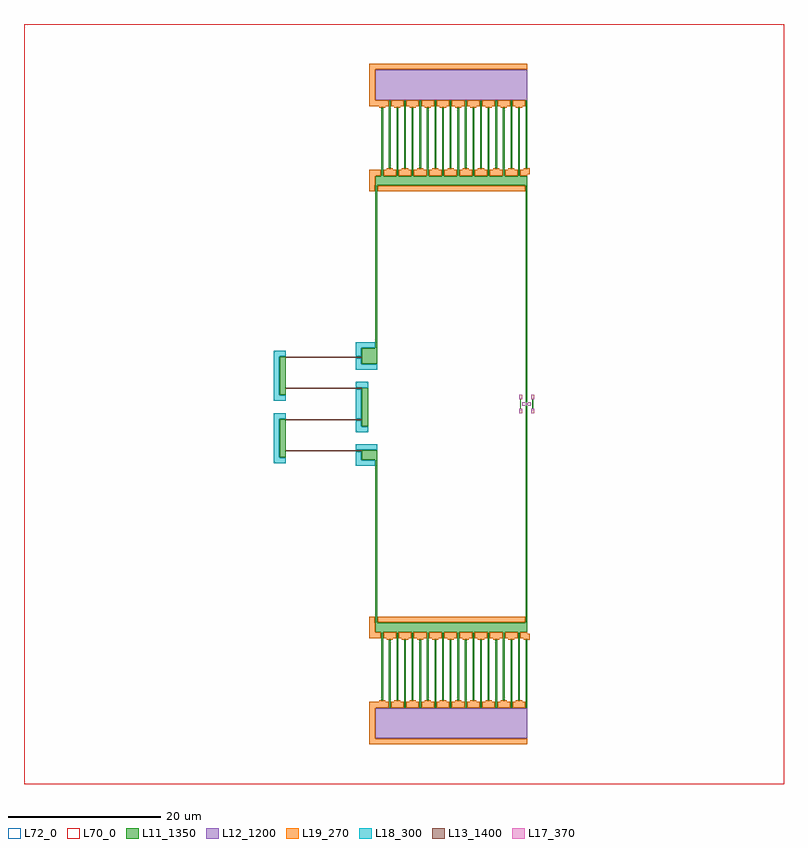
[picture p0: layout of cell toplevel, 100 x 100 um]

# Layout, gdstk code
from math import pi, radians
import gdstk
lib = gdstk.Library(unit=1e-6, precision=1e-09)
def R(c, l, rs):  # rectangles x0, y0, x1, y1
    for r in rs: c.add(gdstk.rectangle(r[:2], r[2:], *l))
def P(c, l, *ps):  # polygons
    for p in ps: c.add(gdstk.Polygon(p, *l))
L11_1350 = (11, 1350)
L12_1200 = (12, 1200)
L13_1400 = (13, 1400)
L17_370 = (17, 370)
L18_300 = (18, 300)
L19_270 = (19, 270)
L70_0 = (70, 0)
L72_0 = (72, 0)

rectangle023 = lib.new_cell('rectangle023')
R(rectangle023, L11_1350, [(0,0,0.2,1.8)])

jj_top = lib.new_cell('JJ Top')
jj_top.add(gdstk.Reference(rectangle023, (-0.1,0.2)))

rectangle024 = lib.new_cell('rectangle024')
R(rectangle024, L11_1350, [(0,0,0.2,1.8)])

jj_bot = lib.new_cell('JJ Bot')
jj_bot.add(gdstk.Reference(rectangle024, (-0.1,-2)))

rectangle025 = lib.new_cell('rectangle025')
R(rectangle025, L11_1350, [(0,0,0.22,26.8)])

top_arm = lib.new_cell('Top Arm')
top_arm.add(gdstk.Reference(rectangle025, (-0.11,2)))

rectangle026 = lib.new_cell('rectangle026')
R(rectangle026, L11_1350, [(0,0,0.22,26.8)])

bot_arm = lib.new_cell('Bot Arm')
bot_arm.add(gdstk.Reference(rectangle026, (-0.11,-28.8)))

junction = lib.new_cell('Junction')
junction.add(gdstk.Reference(jj_top, (0,0)))
junction.add(gdstk.Reference(jj_bot, (0,0)))
junction.add(gdstk.Reference(top_arm, (0,0)))
junction.add(gdstk.Reference(bot_arm, (0,0)))

rectangle028 = lib.new_cell('rectangle028')
R(rectangle028, L17_370, [(-0.15,1.2,0.25,1.8)])

rectangle029 = lib.new_cell('rectangle029')
R(rectangle029, L17_370, [(-0.15,-0.6,0.25,0)])

rectangle027 = lib.new_cell('rectangle027')
R(rectangle027, L11_1350, [(0,0,0.1,1.2)])
rectangle027.add(gdstk.Reference(rectangle028, (0,0)))
rectangle027.add(gdstk.Reference(rectangle029, (0,0)))

boolean030 = lib.new_cell('boolean030')
P(boolean030, L17_370, [(-0.2,-0.125),(0.2,-0.125),(0.2,-0.25),(0.55,-0.25),(0.55,0.25),(0.2,0.25),(0.2,0.125),(-0.2,0.125),(-0.2,0.25),(-0.55,0.25),(-0.55,-0.25),(-0.2,-0.25)])

h_undercut_with_boxes = lib.new_cell('H undercut with boxes')
h_undercut_with_boxes.add(gdstk.Reference(rectangle027, (-0.85,-0.6)))
h_undercut_with_boxes.add(gdstk.Reference(rectangle027, (0.75,-0.6)))
h_undercut_with_boxes.add(gdstk.Reference(boolean030, (0,0)))

josephson_junction = lib.new_cell('Josephson Junction')
josephson_junction.add(gdstk.Reference(junction, (0,0)))
josephson_junction.add(gdstk.Reference(h_undercut_with_boxes, (0,0)))

rectangle034 = lib.new_cell('rectangle034')
R(rectangle034, L11_1350, [(-20,-21.49,-19.78,0)])

rectangle033 = lib.new_cell('rectangle033')
R(rectangle033, L11_1350, [(-20,0,0,1.2)])

connector032 = lib.new_cell('Connector032')
connector032.add(gdstk.Reference(rectangle033, (0,0)))

boolean035 = lib.new_cell('boolean035')

rectangle037 = lib.new_cell('rectangle037')
R(rectangle037, L12_1200, [(-20,0,0,4)])

connector036 = lib.new_cell('Connector036')
connector036.add(gdstk.Reference(rectangle037, (0,11.2)))

boolean038 = lib.new_cell('boolean038')

undercut = lib.new_cell('Undercut')
undercut.add(gdstk.Reference(boolean038, (0,11.2)))

rectangle040 = lib.new_cell('rectangle040')

rectangle039 = lib.new_cell('rectangle039')
R(rectangle039, L11_1350, [(-0.22,2.2,0,11.2)])
rectangle039.add(gdstk.Reference(rectangle040, (0,11.2)))

rectangle042 = lib.new_cell('rectangle042')

rectangle041 = lib.new_cell('rectangle041')
R(rectangle041, L11_1350, [(-1.22,1.2,-1,10.2)])
rectangle041.add(gdstk.Reference(rectangle042, (-1,10.2)))

rectangle044 = lib.new_cell('rectangle044')

rectangle043 = lib.new_cell('rectangle043')
R(rectangle043, L11_1350, [(-2.22,2.2,-2,11.2)])
rectangle043.add(gdstk.Reference(rectangle044, (-2,11.2)))

rectangle046 = lib.new_cell('rectangle046')

rectangle045 = lib.new_cell('rectangle045')
R(rectangle045, L11_1350, [(-3.22,1.2,-3,10.2)])
rectangle045.add(gdstk.Reference(rectangle046, (-3,10.2)))

rectangle048 = lib.new_cell('rectangle048')

rectangle047 = lib.new_cell('rectangle047')
R(rectangle047, L11_1350, [(-4.22,2.2,-4,11.2)])
rectangle047.add(gdstk.Reference(rectangle048, (-4,11.2)))

rectangle050 = lib.new_cell('rectangle050')

rectangle049 = lib.new_cell('rectangle049')
R(rectangle049, L11_1350, [(-5.22,1.2,-5,10.2)])
rectangle049.add(gdstk.Reference(rectangle050, (-5,10.2)))

rectangle052 = lib.new_cell('rectangle052')

rectangle051 = lib.new_cell('rectangle051')
R(rectangle051, L11_1350, [(-6.22,2.2,-6,11.2)])
rectangle051.add(gdstk.Reference(rectangle052, (-6,11.2)))

rectangle054 = lib.new_cell('rectangle054')

rectangle053 = lib.new_cell('rectangle053')
R(rectangle053, L11_1350, [(-7.22,1.2,-7,10.2)])
rectangle053.add(gdstk.Reference(rectangle054, (-7,10.2)))

rectangle056 = lib.new_cell('rectangle056')

rectangle055 = lib.new_cell('rectangle055')
R(rectangle055, L11_1350, [(-8.22,2.2,-8,11.2)])
rectangle055.add(gdstk.Reference(rectangle056, (-8,11.2)))

rectangle058 = lib.new_cell('rectangle058')

rectangle057 = lib.new_cell('rectangle057')
R(rectangle057, L11_1350, [(-9.22,1.2,-9,10.2)])
rectangle057.add(gdstk.Reference(rectangle058, (-9,10.2)))

rectangle060 = lib.new_cell('rectangle060')

rectangle059 = lib.new_cell('rectangle059')
R(rectangle059, L11_1350, [(-10.22,2.2,-10,11.2)])
rectangle059.add(gdstk.Reference(rectangle060, (-10,11.2)))

rectangle062 = lib.new_cell('rectangle062')

rectangle061 = lib.new_cell('rectangle061')
R(rectangle061, L11_1350, [(-11.22,1.2,-11,10.2)])
rectangle061.add(gdstk.Reference(rectangle062, (-11,10.2)))

rectangle064 = lib.new_cell('rectangle064')

rectangle063 = lib.new_cell('rectangle063')
R(rectangle063, L11_1350, [(-12.22,2.2,-12,11.2)])
rectangle063.add(gdstk.Reference(rectangle064, (-12,11.2)))

rectangle066 = lib.new_cell('rectangle066')

rectangle065 = lib.new_cell('rectangle065')
R(rectangle065, L11_1350, [(-13.22,1.2,-13,10.2)])
rectangle065.add(gdstk.Reference(rectangle066, (-13,10.2)))

rectangle068 = lib.new_cell('rectangle068')

rectangle067 = lib.new_cell('rectangle067')
R(rectangle067, L11_1350, [(-14.22,2.2,-14,11.2)])
rectangle067.add(gdstk.Reference(rectangle068, (-14,11.2)))

rectangle070 = lib.new_cell('rectangle070')

rectangle069 = lib.new_cell('rectangle069')
R(rectangle069, L11_1350, [(-15.22,1.2,-15,10.2)])
rectangle069.add(gdstk.Reference(rectangle070, (-15,10.2)))

rectangle072 = lib.new_cell('rectangle072')

rectangle071 = lib.new_cell('rectangle071')
R(rectangle071, L11_1350, [(-16.22,2.2,-16,11.2)])
rectangle071.add(gdstk.Reference(rectangle072, (-16,11.2)))

rectangle074 = lib.new_cell('rectangle074')

rectangle073 = lib.new_cell('rectangle073')
R(rectangle073, L11_1350, [(-17.22,1.2,-17,10.2)])
rectangle073.add(gdstk.Reference(rectangle074, (-17,10.2)))

rectangle076 = lib.new_cell('rectangle076')

rectangle075 = lib.new_cell('rectangle075')
R(rectangle075, L11_1350, [(-18.22,2.2,-18,11.2)])
rectangle075.add(gdstk.Reference(rectangle076, (-18,11.2)))

rectangle078 = lib.new_cell('rectangle078')

rectangle077 = lib.new_cell('rectangle077')
R(rectangle077, L11_1350, [(-19.22,1.2,-19,10.2)])
rectangle077.add(gdstk.Reference(rectangle078, (-19,10.2)))

boolean079 = lib.new_cell('boolean079')

connector031 = lib.new_cell('Connector031')
connector031.add(gdstk.Reference(rectangle034, (19.89,28.8)))
connector031.add(gdstk.Reference(connector032, (19.89,28.8)))
connector031.add(gdstk.Reference(boolean035, (19.89,28.8)))
connector031.add(gdstk.Reference(connector036, (19.89,28.8)))
connector031.add(gdstk.Reference(undercut, (19.89,28.8)))
connector031.add(gdstk.Reference(rectangle039, (19.89,28.8)))
connector031.add(gdstk.Reference(rectangle041, (19.89,28.8)))
connector031.add(gdstk.Reference(rectangle043, (19.89,28.8)))
connector031.add(gdstk.Reference(rectangle045, (19.89,28.8)))
connector031.add(gdstk.Reference(rectangle047, (19.89,28.8)))
connector031.add(gdstk.Reference(rectangle049, (19.89,28.8)))
connector031.add(gdstk.Reference(rectangle051, (19.89,28.8)))
connector031.add(gdstk.Reference(rectangle053, (19.89,28.8)))
connector031.add(gdstk.Reference(rectangle055, (19.89,28.8)))
connector031.add(gdstk.Reference(rectangle057, (19.89,28.8)))
connector031.add(gdstk.Reference(rectangle059, (19.89,28.8)))
connector031.add(gdstk.Reference(rectangle061, (19.89,28.8)))
connector031.add(gdstk.Reference(rectangle063, (19.89,28.8)))
connector031.add(gdstk.Reference(rectangle065, (19.89,28.8)))
connector031.add(gdstk.Reference(rectangle067, (19.89,28.8)))
connector031.add(gdstk.Reference(rectangle069, (19.89,28.8)))
connector031.add(gdstk.Reference(rectangle071, (19.89,28.8)))
connector031.add(gdstk.Reference(rectangle073, (19.89,28.8)))
connector031.add(gdstk.Reference(rectangle075, (19.89,28.8)))
connector031.add(gdstk.Reference(rectangle077, (19.89,28.8)))
connector031.add(gdstk.Reference(boolean079, (0,0)))

rectangle008 = lib.new_cell('rectangle008')
R(rectangle008, L11_1350, [(0,0,0.8,4.22)])

rectangle009 = lib.new_cell('rectangle009')
R(rectangle009, L11_1350, [(0,-0.8,0.8,0)])

arm_connector = lib.new_cell('Arm connector')
arm_connector.add(gdstk.Reference(rectangle008, (-0.8,-4.11)))
arm_connector.add(gdstk.Reference(rectangle009, (-0.8,-4.11)))

rectangle011 = lib.new_cell('rectangle011')
R(rectangle011, L11_1350, [(0,0,0.8,4.22)])

rectangle012 = lib.new_cell('rectangle012')
R(rectangle012, L11_1350, [(0,-0.8,0.8,0)])

arm_connector010 = lib.new_cell('Arm connector010')
arm_connector010.add(gdstk.Reference(rectangle011, (-0.8,-12.33)))
arm_connector010.add(gdstk.Reference(rectangle012, (-0.8,-12.33)))

rectangle015 = lib.new_cell('rectangle015')
R(rectangle015, L11_1350, [(0,0,0.8,4.22)])

rectangle016 = lib.new_cell('rectangle016')
R(rectangle016, L11_1350, [(0,-0.8,0.8,0)])

arm_connector014 = lib.new_cell('Arm connector014')
arm_connector014.add(gdstk.Reference(rectangle015, (10,-8.22)))
arm_connector014.add(gdstk.Reference(rectangle016, (10,-8.22)))

arms = lib.new_cell('Arms')
arms.add(gdstk.Reference(arm_connector, (0,0)))
arms.add(gdstk.Reference(arm_connector010, (0,0)))
arms.add(gdstk.Reference(arm_connector014, (0,0)))

rectangle = lib.new_cell('rectangle')
R(rectangle, L13_1400, [(0,0,10,0.11)])

resistive_segment = lib.new_cell('Resistive segment')
resistive_segment.add(gdstk.Reference(rectangle, (0,0)))

rectangle003 = lib.new_cell('rectangle003')
R(rectangle003, L13_1400, [(0,0,10,0.11)])

resistive_segment002 = lib.new_cell('Resistive segment002')
resistive_segment002.add(gdstk.Reference(rectangle003, (0,-4.11)))

rectangle005 = lib.new_cell('rectangle005')
R(rectangle005, L13_1400, [(0,0,10,0.11)])

resistive_segment004 = lib.new_cell('Resistive segment004')
resistive_segment004.add(gdstk.Reference(rectangle005, (0,-8.22)))

rectangle007 = lib.new_cell('rectangle007')
R(rectangle007, L13_1400, [(0,0,10,0.11)])

resistive_segment006 = lib.new_cell('Resistive segment006')
resistive_segment006.add(gdstk.Reference(rectangle007, (0,-12.33)))

resistive_segments = lib.new_cell('Resistive segments')
resistive_segments.add(gdstk.Reference(resistive_segment, (0,0)))
resistive_segments.add(gdstk.Reference(resistive_segment002, (0,0)))
resistive_segments.add(gdstk.Reference(resistive_segment004, (0,0)))
resistive_segments.add(gdstk.Reference(resistive_segment006, (0,0)))

boolean = lib.new_cell('boolean')

boolean013 = lib.new_cell('boolean013')

boolean017 = lib.new_cell('boolean017')

boolean022 = lib.new_cell('boolean022')

liftoff_undercut = lib.new_cell('Liftoff undercut')
liftoff_undercut.add(gdstk.Reference(boolean, (0,0)))
liftoff_undercut.add(gdstk.Reference(boolean013, (0,0)))
liftoff_undercut.add(gdstk.Reference(boolean017, (0,0)))
liftoff_undercut.add(gdstk.Reference(boolean022, (0,0)))

rectangle018 = lib.new_cell('rectangle018')
R(rectangle018, L11_1350, [(-2,0,0,1.2)])

connector = lib.new_cell('Connector')
connector.add(gdstk.Reference(rectangle018, (0,0)))

rectangle019 = lib.new_cell('rectangle019')
R(rectangle019, L11_1350, [(-2,-0.8,0,0)])

top_connector = lib.new_cell('Top connector')
top_connector.add(gdstk.Reference(connector, (10,0), rotation=pi, x_reflection=True))
top_connector.add(gdstk.Reference(rectangle019, (10,0), rotation=pi, x_reflection=True))

rectangle021 = lib.new_cell('rectangle021')
R(rectangle021, L11_1350, [(-2,0,0,1.2)])

connector020 = lib.new_cell('Connector020')
connector020.add(gdstk.Reference(rectangle021, (10,-13.42), rotation=pi, x_reflection=True))

bot_connector = lib.new_cell('Bot connector')
bot_connector.add(gdstk.Reference(connector020, (0,0)))

boolean080 = lib.new_cell('boolean080')
R(boolean080, L18_300, [(-22.47,-6.05,-19.67,-5.31), (-22.47,-1.94,-21.73,1.94), (-22.47,2.17,-20.87,2.91)])
P(boolean080, L18_300, [(-21.73,7.37),(-19.95,7.37),(-19.95,8.11),(-22.47,8.11),(-22.47,6.28),(-21.73,6.28)],
  [(-31.67,1.14),(-32.53,1.14),(-32.53,6.28),(-31.67,6.28),(-31.67,7.02),(-33.27,7.02),(-33.27,0.4),(-31.67,0.4)],
  [(-19.67,5.25),(-21.73,5.25),(-21.73,6.05),(-22.47,6.05),(-22.47,4.51),(-19.67,4.51)],
  [(-31.67,-7.08),(-32.53,-7.08),(-32.53,-1.94),(-31.67,-1.94),(-31.67,-1.2),(-33.27,-1.2),(-33.27,-7.82),(-31.67,-7.82)],
  [(-20.87,-2.97),(-21.73,-2.97),(-21.73,-2.17),(-22.47,-2.17),(-22.47,-3.71),(-20.87,-3.71)],
  [(-19.95,-7.37),(-21.73,-7.37),(-21.73,-6.28),(-22.47,-6.28),(-22.47,-8.11),(-19.95,-8.11)])

resistor = lib.new_cell('Resistor')
resistor.add(gdstk.Reference(arms, (-31.67,6.11)))
resistor.add(gdstk.Reference(resistive_segments, (-31.67,6.11)))
resistor.add(gdstk.Reference(liftoff_undercut, (-31.67,6.11)))
resistor.add(gdstk.Reference(top_connector, (-31.67,6.11)))
resistor.add(gdstk.Reference(bot_connector, (-31.67,6.11)))
resistor.add(gdstk.Reference(boolean080, (0,0)))

boolean081 = lib.new_cell('boolean081')
R(boolean081, L19_270, [(-19.6,-28.74,-0.17,-28), (-19.6,28,-0.17,28.74)])
P(boolean081, L19_270, [(-18.6,39.2),(-18.17,39.2),(-18.17,39.94),(-19.95,39.94),(-19.95,44.06),(0.11,44.06),(0.11,44.8),(-20.69,44.8),(-20.69,39.2),(-19.4,39.2),(-19.4,39),(-19.17,39),(-19.17,39.06),(-18.83,39.06),(-18.83,39),(-18.6,39)],
  [(-10.6,39.2),(-10.17,39.2),(-10.17,39.94),(-11.83,39.94),(-11.83,39.2),(-11.4,39.2),(-11.4,39),(-11.17,39),(-11.17,39.06),(-10.83,39.06),(-10.83,39),(-10.6,39)],
  [(-2.6,39.2),(-2.17,39.2),(-2.17,39.94),(-3.83,39.94),(-3.83,39.2),(-3.4,39.2),(-3.4,39),(-3.17,39),(-3.17,39.06),(-2.83,39.06),(-2.83,39),(-2.6,39)],
  [(-8.6,39.2),(-8.17,39.2),(-8.17,39.94),(-9.83,39.94),(-9.83,39.2),(-9.4,39.2),(-9.4,39),(-9.17,39),(-9.17,39.06),(-8.83,39.06),(-8.83,39),(-8.6,39)],
  [(-6.6,39.2),(-6.17,39.2),(-6.17,39.94),(-7.83,39.94),(-7.83,39.2),(-7.4,39.2),(-7.4,39),(-7.17,39),(-7.17,39.06),(-6.83,39.06),(-6.83,39),(-6.6,39)],
  [(-4.6,39.2),(-4.17,39.2),(-4.17,39.94),(-5.83,39.94),(-5.83,39.2),(-5.4,39.2),(-5.4,39),(-5.17,39),(-5.17,39.06),(-4.83,39.06),(-4.83,39),(-4.6,39)],
  [(-16.6,39.2),(-16.17,39.2),(-16.17,39.94),(-17.83,39.94),(-17.83,39.2),(-17.4,39.2),(-17.4,39),(-17.17,39),(-17.17,39.06),(-16.83,39.06),(-16.83,39),(-16.6,39)],
  [(-0.6,39.2),(-0.17,39.2),(-0.17,39.94),(-1.83,39.94),(-1.83,39.2),(-1.4,39.2),(-1.4,39),(-1.17,39),(-1.17,39.06),(-0.83,39.06),(-0.83,39),(-0.6,39)],
  [(-14.6,39.2),(-14.17,39.2),(-14.17,39.94),(-15.83,39.94),(-15.83,39.2),(-15.4,39.2),(-15.4,39),(-15.17,39),(-15.17,39.06),(-14.83,39.06),(-14.83,39),(-14.6,39)],
  [(-12.6,39.2),(-12.17,39.2),(-12.17,39.94),(-13.83,39.94),(-13.83,39.2),(-13.4,39.2),(-13.4,39),(-13.17,39),(-13.17,39.06),(-12.83,39.06),(-12.83,39),(-12.6,39)],
  [(0.11,30.06),(0.11,30.2),(0.4,30.2),(0.4,31),(0.17,31),(0.17,30.94),(-0.17,30.94),(-0.17,31),(-0.4,31),(-0.4,30.8),(-0.83,30.8),(-0.83,30.06)],
  [(-17.17,30.06),(-17.17,30.8),(-17.6,30.8),(-17.6,31),(-17.83,31),(-17.83,30.94),(-18.17,30.94),(-18.17,31),(-18.4,31),(-18.4,30.8),(-18.83,30.8),(-18.83,30.06)],
  [(-15.17,30.06),(-15.17,30.8),(-15.6,30.8),(-15.6,31),(-15.83,31),(-15.83,30.94),(-16.17,30.94),(-16.17,31),(-16.4,31),(-16.4,30.8),(-16.83,30.8),(-16.83,30.06)],
  [(-11.17,30.06),(-11.17,30.8),(-11.6,30.8),(-11.6,31),(-11.83,31),(-11.83,30.94),(-12.17,30.94),(-12.17,31),(-12.4,31),(-12.4,30.8),(-12.83,30.8),(-12.83,30.06)],
  [(-13.17,30.06),(-13.17,30.8),(-13.6,30.8),(-13.6,31),(-13.83,31),(-13.83,30.94),(-14.17,30.94),(-14.17,31),(-14.4,31),(-14.4,30.8),(-14.83,30.8),(-14.83,30.06)],
  [(-9.17,30.06),(-9.17,30.8),(-9.6,30.8),(-9.6,31),(-9.83,31),(-9.83,30.94),(-10.17,30.94),(-10.17,31),(-10.4,31),(-10.4,30.8),(-10.83,30.8),(-10.83,30.06)],
  [(-7.17,30.06),(-7.17,30.8),(-7.6,30.8),(-7.6,31),(-7.83,31),(-7.83,30.94),(-8.17,30.94),(-8.17,31),(-8.4,31),(-8.4,30.8),(-8.83,30.8),(-8.83,30.06)],
  [(-1.17,30.06),(-1.17,30.8),(-1.6,30.8),(-1.6,31),(-1.83,31),(-1.83,30.94),(-2.17,30.94),(-2.17,31),(-2.4,31),(-2.4,30.8),(-2.83,30.8),(-2.83,30.06)],
  [(-5.17,30.06),(-5.17,30.8),(-5.6,30.8),(-5.6,31),(-5.83,31),(-5.83,30.94),(-6.17,30.94),(-6.17,31),(-6.4,31),(-6.4,30.8),(-6.83,30.8),(-6.83,30.06)],
  [(-3.17,30.06),(-3.17,30.8),(-3.6,30.8),(-3.6,31),(-3.83,31),(-3.83,30.94),(-4.17,30.94),(-4.17,31),(-4.4,31),(-4.4,30.8),(-4.83,30.8),(-4.83,30.06)],
  [(-19.96,28.87),(-19.95,28.87),(-19.95,30.06),(-19.17,30.06),(-19.17,30.8),(-20.69,30.8),(-20.69,28),(-19.96,28)],
  [(-19.17,-30.06),(-19.95,-30.06),(-19.95,-28.87),(-19.96,-28.87),(-19.96,-28),(-20.69,-28),(-20.69,-30.8),(-19.17,-30.8)],
  [(0.4,-30.2),(0.11,-30.2),(0.11,-30.06),(-0.83,-30.06),(-0.83,-30.8),(-0.4,-30.8),(-0.4,-31),(-0.17,-31),(-0.17,-30.94),(0.17,-30.94),(0.17,-31),(0.4,-31)],
  [(-17.6,-30.8),(-17.17,-30.8),(-17.17,-30.06),(-18.83,-30.06),(-18.83,-30.8),(-18.4,-30.8),(-18.4,-31),(-18.17,-31),(-18.17,-30.94),(-17.83,-30.94),(-17.83,-31),(-17.6,-31)],
  [(-13.6,-30.8),(-13.17,-30.8),(-13.17,-30.06),(-14.83,-30.06),(-14.83,-30.8),(-14.4,-30.8),(-14.4,-31),(-14.17,-31),(-14.17,-30.94),(-13.83,-30.94),(-13.83,-31),(-13.6,-31)],
  [(-11.6,-30.8),(-11.17,-30.8),(-11.17,-30.06),(-12.83,-30.06),(-12.83,-30.8),(-12.4,-30.8),(-12.4,-31),(-12.17,-31),(-12.17,-30.94),(-11.83,-30.94),(-11.83,-31),(-11.6,-31)],
  [(-9.6,-30.8),(-9.17,-30.8),(-9.17,-30.06),(-10.83,-30.06),(-10.83,-30.8),(-10.4,-30.8),(-10.4,-31),(-10.17,-31),(-10.17,-30.94),(-9.83,-30.94),(-9.83,-31),(-9.6,-31)],
  [(-7.6,-30.8),(-7.17,-30.8),(-7.17,-30.06),(-8.83,-30.06),(-8.83,-30.8),(-8.4,-30.8),(-8.4,-31),(-8.17,-31),(-8.17,-30.94),(-7.83,-30.94),(-7.83,-31),(-7.6,-31)],
  [(-5.6,-30.8),(-5.17,-30.8),(-5.17,-30.06),(-6.83,-30.06),(-6.83,-30.8),(-6.4,-30.8),(-6.4,-31),(-6.17,-31),(-6.17,-30.94),(-5.83,-30.94),(-5.83,-31),(-5.6,-31)],
  [(-3.6,-30.8),(-3.17,-30.8),(-3.17,-30.06),(-4.83,-30.06),(-4.83,-30.8),(-4.4,-30.8),(-4.4,-31),(-4.17,-31),(-4.17,-30.94),(-3.83,-30.94),(-3.83,-31),(-3.6,-31)],
  [(-1.6,-30.8),(-1.17,-30.8),(-1.17,-30.06),(-2.83,-30.06),(-2.83,-30.8),(-2.4,-30.8),(-2.4,-31),(-2.17,-31),(-2.17,-30.94),(-1.83,-30.94),(-1.83,-31),(-1.6,-31)],
  [(-15.6,-30.8),(-15.17,-30.8),(-15.17,-30.06),(-16.83,-30.06),(-16.83,-30.8),(-16.4,-30.8),(-16.4,-31),(-16.17,-31),(-16.17,-30.94),(-15.83,-30.94),(-15.83,-31),(-15.6,-31)],
  [(-14.17,-39.94),(-14.17,-39.2),(-14.6,-39.2),(-14.6,-39),(-14.83,-39),(-14.83,-39.06),(-15.17,-39.06),(-15.17,-39),(-15.4,-39),(-15.4,-39.2),(-15.83,-39.2),(-15.83,-39.94)],
  [(-12.17,-39.94),(-12.17,-39.2),(-12.6,-39.2),(-12.6,-39),(-12.83,-39),(-12.83,-39.06),(-13.17,-39.06),(-13.17,-39),(-13.4,-39),(-13.4,-39.2),(-13.83,-39.2),(-13.83,-39.94)],
  [(-10.17,-39.94),(-10.17,-39.2),(-10.6,-39.2),(-10.6,-39),(-10.83,-39),(-10.83,-39.06),(-11.17,-39.06),(-11.17,-39),(-11.4,-39),(-11.4,-39.2),(-11.83,-39.2),(-11.83,-39.94)],
  [(-0.17,-39.94),(-0.17,-39.2),(-0.6,-39.2),(-0.6,-39),(-0.83,-39),(-0.83,-39.06),(-1.17,-39.06),(-1.17,-39),(-1.4,-39),(-1.4,-39.2),(-1.83,-39.2),(-1.83,-39.94)],
  [(-4.17,-39.94),(-4.17,-39.2),(-4.6,-39.2),(-4.6,-39),(-4.83,-39),(-4.83,-39.06),(-5.17,-39.06),(-5.17,-39),(-5.4,-39),(-5.4,-39.2),(-5.83,-39.2),(-5.83,-39.94)],
  [(-16.17,-39.94),(-16.17,-39.2),(-16.6,-39.2),(-16.6,-39),(-16.83,-39),(-16.83,-39.06),(-17.17,-39.06),(-17.17,-39),(-17.4,-39),(-17.4,-39.2),(-17.83,-39.2),(-17.83,-39.94)],
  [(-6.17,-39.94),(-6.17,-39.2),(-6.6,-39.2),(-6.6,-39),(-6.83,-39),(-6.83,-39.06),(-7.17,-39.06),(-7.17,-39),(-7.4,-39),(-7.4,-39.2),(-7.83,-39.2),(-7.83,-39.94)],
  [(-8.17,-39.94),(-8.17,-39.2),(-8.6,-39.2),(-8.6,-39),(-8.83,-39),(-8.83,-39.06),(-9.17,-39.06),(-9.17,-39),(-9.4,-39),(-9.4,-39.2),(-9.83,-39.2),(-9.83,-39.94)],
  [(-2.17,-39.94),(-2.17,-39.2),(-2.6,-39.2),(-2.6,-39),(-2.83,-39),(-2.83,-39.06),(-3.17,-39.06),(-3.17,-39),(-3.4,-39),(-3.4,-39.2),(-3.83,-39.2),(-3.83,-39.94)],
  [(0.11,-44.06),(-19.95,-44.06),(-19.95,-39.94),(-18.17,-39.94),(-18.17,-39.2),(-18.6,-39.2),(-18.6,-39),(-18.83,-39),(-18.83,-39.06),(-19.17,-39.06),(-19.17,-39),(-19.4,-39),(-19.4,-39.2),(-20.69,-39.2),(-20.69,-44.8),(0.11,-44.8)])

rectangle083 = lib.new_cell('rectangle083')
R(rectangle083, L72_0, [(0,0,100,100)])

working_area = lib.new_cell('Working area')
working_area.add(gdstk.Reference(rectangle083, (-66.135,-50)))

rectangle082 = lib.new_cell('rectangle082')
R(rectangle082, L70_0, [(0,0,100,100)])

writefield = lib.new_cell('Writefield')
writefield.add(gdstk.Reference(rectangle082, (-66.135,-50)))

toplevel = lib.new_cell('toplevel')
toplevel.add(gdstk.Reference(josephson_junction, (0,0)))
toplevel.add(gdstk.Reference(connector031, (-19.78,0)))
toplevel.add(gdstk.Reference(connector031, (-19.78,0), x_reflection=True))
toplevel.add(gdstk.Reference(resistor, (0,0)))
toplevel.add(gdstk.Reference(boolean081, (0,0)))
toplevel.add(gdstk.Reference(working_area, (0,0)))
toplevel.add(gdstk.Reference(writefield, (0,0)))

lib.write_gds('toplevel.gds')
